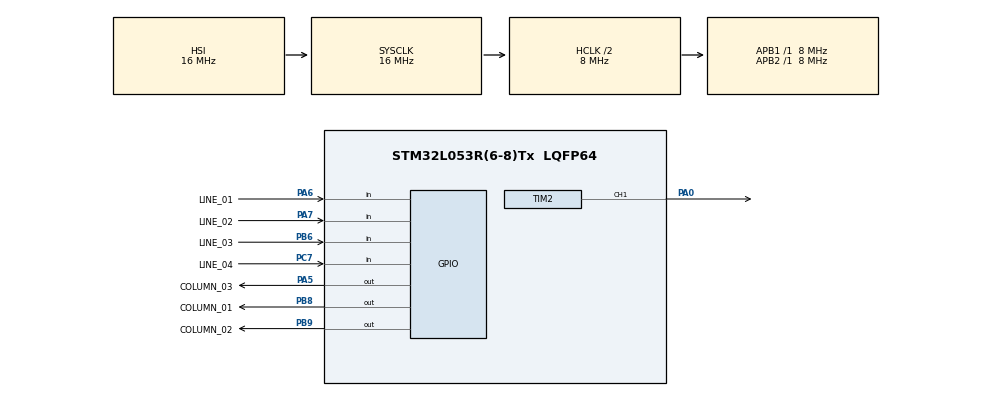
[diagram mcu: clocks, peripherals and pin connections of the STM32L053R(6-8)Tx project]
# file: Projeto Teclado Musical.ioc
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Mcu.Family=STM32L0
Mcu.Name=STM32L053R(6-8)Tx
Mcu.Package=LQFP64
PA0.Signal=S_TIM2_CH1
PA5.GPIO_Label=COLUMN_03
PA5.Signal=GPIO_Output
PA6.GPIO_Label=LINE_01
PA6.GPIO_PuPd=GPIO_PULLUP
PA6.Signal=GPIO_Input
PA7.GPIO_Label=LINE_02
PA7.GPIO_PuPd=GPIO_PULLUP
PA7.Signal=GPIO_Input
PB6.GPIO_Label=LINE_03
PB6.GPIO_PuPd=GPIO_PULLUP
PB6.Signal=GPIO_Input
PB8.GPIO_Label=COLUMN_01
PB8.Signal=GPIO_Output
PB9.GPIO_Label=COLUMN_02
PB9.Signal=GPIO_Output
PC7.GPIO_Label=LINE_04
PC7.GPIO_PuPd=GPIO_PULLUP
PC7.Signal=GPIO_Input
ProjectManager.HeapSize=0x200
ProjectManager.StackSize=0x400
ProjectManager.TargetToolchain=STM32CubeIDE
RCC.AHBCLKDivider=RCC_SYSCLK_DIV2
RCC.AHBFreq_Value=8000000
RCC.APB1Freq_Value=8000000
RCC.APB1TimFreq_Value=8000000
RCC.APB2Freq_Value=8000000
RCC.APB2TimFreq_Value=8000000
RCC.HCLKFreq_Value=8000000
RCC.HSE_VALUE=8000000
RCC.HSI16_VALUE=16000000
RCC.HSI48_VALUE=48000000
RCC.HSI_VALUE=16000000
RCC.MSI_VALUE=2097000
RCC.SYSCLKFreq_VALUE=16000000
RCC.SYSCLKSource=RCC_SYSCLKSOURCE_HSI
RCC.VCOOutputFreq_Value=48000000
SH.S_TIM2_CH1.0=TIM2_CH1,PWM Generation1 CH1
TIM2.Channel-PWM\ Generation1\ CH1=TIM_CHANNEL_1
TIM2.Period=3788-1
TIM2.Prescaler=8-1
TIM2.Pulse-PWM\ Generation1\ CH1=1894-1
VP_TIM2_VS_ClockSourceINT.Mode=Internal
board=NUCLEO-L053R8

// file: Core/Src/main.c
/* USER CODE BEGIN Header */
/**
  ******************************************************************************
  * @file           : main.c
  * @brief          : Main program body
  ******************************************************************************
  * @attention
  *
  * Copyright (c) 2025 STMicroelectronics.
  * All rights reserved.
  *
  * This software is licensed under terms that can be found in the LICENSE file
  * in the root directory of this software component.
  * If no LICENSE file comes with this software, it is provided AS-IS.
  *
  ******************************************************************************
  */
/* USER CODE END Header */
#include "main.h"

/* USER CODE BEGIN PD */

#define DO      3793
#define RE      3405
#define MI      3034
#define FA      2863
#define SOL     2551
#define LA      2273
#define SI      2006
#define DO_ALTO 1896
#define FA_ALTO 1431
#define SOL_ALTO 1275
#define LA_ALTO 1136
#define SI_ALTO 1003

#define DELAY 250

/* USER CODE END PD */

TIM_HandleTypeDef htim2;

/* USER CODE BEGIN PV */
char Tmap[4][3] = {{'1','2','3'},{'4','5','6'},{'7','8','9'},{'*','0','#'}};
char response = 0;

uint8_t atual_column = 0;
uint16_t count_period = 1894;

/* USER CODE END PV */

void SystemClock_Config(void);
static void MX_GPIO_Init(void);
static void MX_TIM2_Init(void);
/* USER CODE BEGIN PFP */
void Line_verify(void);
void Keyboard_check(void);
void Note_define(uint16_t note);
void Note_tone(uint16_t note, uint32_t delay_active);
/* USER CODE END PFP */

int main(void)
{

  /* MCU Configuration--------------------------------------------------------*/

  /* Reset of all peripherals, Initializes the Flash interface and the Systick. */
  HAL_Init();

  /* Configure the system clock */
  SystemClock_Config();

  /* Initialize all configured peripherals */
  MX_GPIO_Init();
  MX_TIM2_Init();
  /* USER CODE BEGIN 2 */

  HAL_TIM_PWM_Start(&htim2, TIM_CHANNEL_1);

  /* USER CODE END 2 */

  /* Infinite loop */
  /* USER CODE BEGIN WHILE */
  while (1)
  {
	  Keyboard_check();
    /* USER CODE END WHILE */

  }
}

void SystemClock_Config(void)
{
  RCC_OscInitTypeDef RCC_OscInitStruct = {0};
  RCC_ClkInitTypeDef RCC_ClkInitStruct = {0};

  /** Configure the main internal regulator output voltage
  */
  __HAL_PWR_VOLTAGESCALING_CONFIG(PWR_REGULATOR_VOLTAGE_SCALE1);

  /** Initializes the RCC Oscillators according to the specified parameters
  * in the RCC_OscInitTypeDef structure.
  */
  RCC_OscInitStruct.OscillatorType = RCC_OSCILLATORTYPE_HSI;
  RCC_OscInitStruct.HSIState = RCC_HSI_ON;
  RCC_OscInitStruct.HSICalibrationValue = RCC_HSICALIBRATION_DEFAULT;
  RCC_OscInitStruct.PLL.PLLState = RCC_PLL_NONE;
  if (HAL_RCC_OscConfig(&RCC_OscInitStruct) != HAL_OK)
  {
    Error_Handler();
  }

  /** Initializes the CPU, AHB and APB buses clocks
  */
  RCC_ClkInitStruct.ClockType = RCC_CLOCKTYPE_HCLK|RCC_CLOCKTYPE_SYSCLK
                              |RCC_CLOCKTYPE_PCLK1|RCC_CLOCKTYPE_PCLK2;
  RCC_ClkInitStruct.SYSCLKSource = RCC_SYSCLKSOURCE_HSI;
  RCC_ClkInitStruct.AHBCLKDivider = RCC_SYSCLK_DIV2;
  RCC_ClkInitStruct.APB1CLKDivider = RCC_HCLK_DIV1;
  RCC_ClkInitStruct.APB2CLKDivider = RCC_HCLK_DIV1;

  if (HAL_RCC_ClockConfig(&RCC_ClkInitStruct, FLASH_LATENCY_0) != HAL_OK)
  {
    Error_Handler();
  }
}

static void MX_TIM2_Init(void)
{

  TIM_ClockConfigTypeDef sClockSourceConfig = {0};
  TIM_MasterConfigTypeDef sMasterConfig = {0};
  TIM_OC_InitTypeDef sConfigOC = {0};

  htim2.Instance = TIM2;
  htim2.Init.Prescaler = 8-1;
  htim2.Init.CounterMode = TIM_COUNTERMODE_UP;
  htim2.Init.Period = 3788-1;
  htim2.Init.ClockDivision = TIM_CLOCKDIVISION_DIV1;
  htim2.Init.AutoReloadPreload = TIM_AUTORELOAD_PRELOAD_DISABLE;
  if (HAL_TIM_Base_Init(&htim2) != HAL_OK)
  {
    Error_Handler();
  }
  sClockSourceConfig.ClockSource = TIM_CLOCKSOURCE_INTERNAL;
  if (HAL_TIM_ConfigClockSource(&htim2, &sClockSourceConfig) != HAL_OK)
  {
    Error_Handler();
  }
  if (HAL_TIM_PWM_Init(&htim2) != HAL_OK)
  {
    Error_Handler();
  }
  sMasterConfig.MasterOutputTrigger = TIM_TRGO_RESET;
  sMasterConfig.MasterSlaveMode = TIM_MASTERSLAVEMODE_DISABLE;
  if (HAL_TIMEx_MasterConfigSynchronization(&htim2, &sMasterConfig) != HAL_OK)
  {
    Error_Handler();
  }
  sConfigOC.OCMode = TIM_OCMODE_PWM1;
  sConfigOC.Pulse = 1894-1;
  sConfigOC.OCPolarity = TIM_OCPOLARITY_HIGH;
  sConfigOC.OCFastMode = TIM_OCFAST_DISABLE;
  if (HAL_TIM_PWM_ConfigChannel(&htim2, &sConfigOC, TIM_CHANNEL_1) != HAL_OK)
  {
    Error_Handler();
  }
  HAL_TIM_MspPostInit(&htim2);

}

static void MX_GPIO_Init(void)
{
  GPIO_InitTypeDef GPIO_InitStruct = {0};

  /* GPIO Ports Clock Enable */
  __HAL_RCC_GPIOA_CLK_ENABLE();
  __HAL_RCC_GPIOC_CLK_ENABLE();
  __HAL_RCC_GPIOB_CLK_ENABLE();

  /*Configure GPIO pin Output Level */
  HAL_GPIO_WritePin(COLUMN_03_GPIO_Port, COLUMN_03_Pin, GPIO_PIN_RESET);

  /*Configure GPIO pin Output Level */
  HAL_GPIO_WritePin(GPIOB, COLUMN_01_Pin|COLUMN_02_Pin, GPIO_PIN_RESET);

  /*Configure GPIO pin : COLUMN_03_Pin */
  GPIO_InitStruct.Pin = COLUMN_03_Pin;
  GPIO_InitStruct.Mode = GPIO_MODE_OUTPUT_PP;
  GPIO_InitStruct.Pull = GPIO_NOPULL;
  GPIO_InitStruct.Speed = GPIO_SPEED_FREQ_LOW;
  HAL_GPIO_Init(COLUMN_03_GPIO_Port, &GPIO_InitStruct);

  /*Configure GPIO pins : LINE_01_Pin LINE_02_Pin */
  GPIO_InitStruct.Pin = LINE_01_Pin|LINE_02_Pin;
  GPIO_InitStruct.Mode = GPIO_MODE_INPUT;
  GPIO_InitStruct.Pull = GPIO_PULLUP;
  HAL_GPIO_Init(GPIOA, &GPIO_InitStruct);

  /*Configure GPIO pin : LINE_04_Pin */
  GPIO_InitStruct.Pin = LINE_04_Pin;
  GPIO_InitStruct.Mode = GPIO_MODE_INPUT;
  GPIO_InitStruct.Pull = GPIO_PULLUP;
  HAL_GPIO_Init(LINE_04_GPIO_Port, &GPIO_InitStruct);

  /*Configure GPIO pin : LINE_03_Pin */
  GPIO_InitStruct.Pin = LINE_03_Pin;
  GPIO_InitStruct.Mode = GPIO_MODE_INPUT;
  GPIO_InitStruct.Pull = GPIO_PULLUP;
  HAL_GPIO_Init(LINE_03_GPIO_Port, &GPIO_InitStruct);

  /*Configure GPIO pins : COLUMN_01_Pin COLUMN_02_Pin */
  GPIO_InitStruct.Pin = COLUMN_01_Pin|COLUMN_02_Pin;
  GPIO_InitStruct.Mode = GPIO_MODE_OUTPUT_PP;
  GPIO_InitStruct.Pull = GPIO_NOPULL;
  GPIO_InitStruct.Speed = GPIO_SPEED_FREQ_LOW;
  HAL_GPIO_Init(GPIOB, &GPIO_InitStruct);

}

/* USER CODE BEGIN 4 */
void Keyboard_check(void){
	switch (atual_column){
		case 0:
			HAL_GPIO_WritePin(COLUMN_01_GPIO_Port, COLUMN_01_Pin, GPIO_PIN_RESET);
			HAL_GPIO_WritePin(COLUMN_02_GPIO_Port, COLUMN_02_Pin, GPIO_PIN_SET);
			HAL_GPIO_WritePin(COLUMN_03_GPIO_Port, COLUMN_03_Pin, GPIO_PIN_SET);
			Line_verify();

			atual_column = 1;
			break;

		case 1:
			HAL_GPIO_WritePin(COLUMN_01_GPIO_Port, COLUMN_01_Pin, GPIO_PIN_SET);
			HAL_GPIO_WritePin(COLUMN_02_GPIO_Port, COLUMN_02_Pin, GPIO_PIN_RESET);
			HAL_GPIO_WritePin(COLUMN_03_GPIO_Port, COLUMN_03_Pin, GPIO_PIN_SET);
			Line_verify();

			atual_column = 2;
			break;

		case 2:
			HAL_GPIO_WritePin(COLUMN_01_GPIO_Port, COLUMN_01_Pin, GPIO_PIN_SET);
			HAL_GPIO_WritePin(COLUMN_02_GPIO_Port, COLUMN_02_Pin, GPIO_PIN_SET);
			HAL_GPIO_WritePin(COLUMN_03_GPIO_Port, COLUMN_03_Pin, GPIO_PIN_RESET);
			Line_verify();

			atual_column = 0;
			break;
	}
}

void Line_verify(void){
	uint8_t bline1 = HAL_GPIO_ReadPin(LINE_01_GPIO_Port, LINE_01_Pin),
			bline2 = HAL_GPIO_ReadPin(LINE_02_GPIO_Port, LINE_02_Pin),
			bline3 = HAL_GPIO_ReadPin(LINE_03_GPIO_Port, LINE_03_Pin),
			bline4 = HAL_GPIO_ReadPin(LINE_04_GPIO_Port, LINE_04_Pin);

	if (!bline1) response = Tmap[0][atual_column];
	else if (!bline2) response = Tmap[1][atual_column];
	else if (!bline3) response = Tmap[2][atual_column];
	else if (!bline4) response = Tmap[3][atual_column];

	switch(response){
		case '1':
			count_period = DO; // DO
			break;

		case '2':
			count_period = RE; // RE
			break;

		case '3':
			count_period = MI; // MI
			break;

		case '4':
			count_period = FA; // FA
			break;

		case '5':
			count_period = SOL; // SOL
			break;

		case '6':
			count_period = LA; // LA
			break;

		case '7':
			count_period = SI; // SI
			break;

		case '8':
			Note_tone(DO, DELAY);
			HAL_Delay(DELAY / 2);

			Note_tone(DO, DELAY);
			HAL_Delay(DELAY / 2);

			Note_tone(SOL, DELAY);
			HAL_Delay(DELAY / 2);

			Note_tone(SOL, DELAY);
			HAL_Delay(DELAY / 2);

			Note_tone(LA, DELAY);
			HAL_Delay(DELAY / 2);

			Note_tone(LA, DELAY);
			HAL_Delay(DELAY / 2);

			Note_tone(SOL, DELAY);
			HAL_Delay(DELAY / 2);

			Note_tone(SOL, DELAY);
			HAL_Delay(DELAY / 2);

			Note_tone(FA, DELAY);
			HAL_Delay(DELAY / 2);

			Note_tone(FA, DELAY);
			HAL_Delay(DELAY / 2);

			Note_tone(MI, DELAY);
			HAL_Delay(DELAY / 2);

			Note_tone(MI, DELAY);
			HAL_Delay(DELAY / 2);

			Note_tone(RE, DELAY);
			HAL_Delay(DELAY / 2);

			Note_tone(RE, DELAY);
			HAL_Delay(DELAY / 2);

			Note_tone(DO, DELAY);
			HAL_Delay(DELAY);

			Note_tone(FA, DELAY);
			HAL_Delay(DELAY / 2);

			Note_tone(FA, DELAY);
			HAL_Delay(DELAY / 2);

			Note_tone(MI, DELAY);
			HAL_Delay(DELAY / 2);

			Note_tone(MI, DELAY);
			HAL_Delay(DELAY / 2);

			Note_tone(RE, DELAY);
			HAL_Delay(DELAY / 2);

			Note_tone(RE, DELAY);
			HAL_Delay(DELAY / 2);

			Note_tone(DO, DELAY);
			HAL_Delay(DELAY / 2);

			Note_tone(SOL, DELAY);
			HAL_Delay(DELAY / 2);

			Note_tone(SOL, DELAY);
			HAL_Delay(DELAY / 2);

			Note_tone(FA, DELAY);
			HAL_Delay(DELAY / 2);

			Note_tone(FA, DELAY);
			HAL_Delay(DELAY / 2);

			Note_tone(MI, DELAY);
			HAL_Delay(DELAY / 2);

			Note_tone(MI, DELAY);
			HAL_Delay(DELAY / 2);

			Note_tone(RE, DELAY);
			HAL_Delay(DELAY / 2);
			break;

		default:
			count_period = 0;
			break;
	}
	while (!bline1 || !bline2 || !bline3 || !bline4){
		Note_define(count_period);
		bline1 = HAL_GPIO_ReadPin(LINE_01_GPIO_Port, LINE_01_Pin),
		bline2 = HAL_GPIO_ReadPin(LINE_02_GPIO_Port, LINE_02_Pin),
		bline3 = HAL_GPIO_ReadPin(LINE_03_GPIO_Port, LINE_03_Pin),
		bline4 = HAL_GPIO_ReadPin(LINE_04_GPIO_Port, LINE_04_Pin);
	}
	Note_define(count_period);
	HAL_Delay(10);
	response = 0;
}

void Note_define(uint16_t note){
	uint8_t dc = note / 2;
	TIM2 -> CCR1 = dc;
	TIM2 -> ARR  = note;
}

void Note_tone(uint16_t note, uint32_t delay_active){
	Note_define(note);
	HAL_Delay(delay_active);
	Note_define(0);
}

/* USER CODE END 4 */

void Error_Handler(void)
{
  __disable_irq();
  while (1)
  {
  }
}
